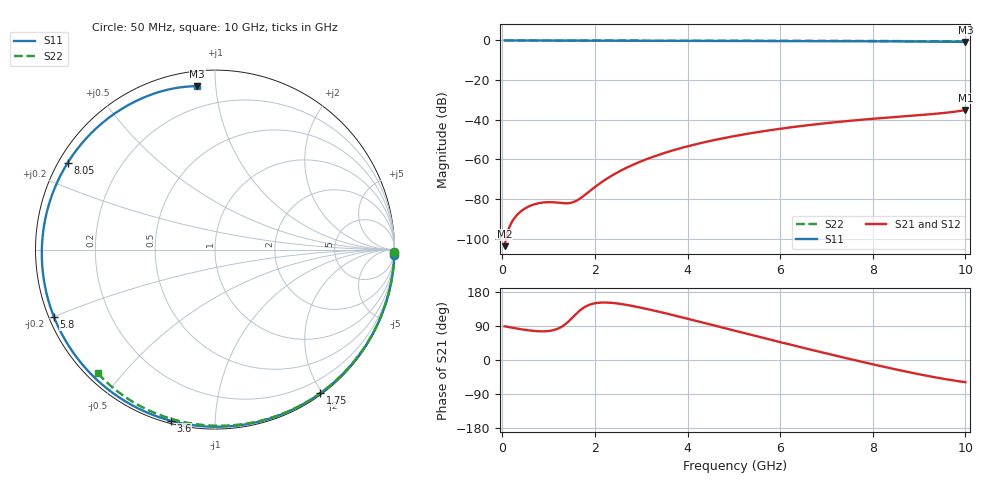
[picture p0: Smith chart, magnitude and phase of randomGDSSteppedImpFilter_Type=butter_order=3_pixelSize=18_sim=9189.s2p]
! freq	dB(S11)	phase(S11)	dB(S12)	phase(S12)
!  dB(S21)	phase(S21)	dB(S22)	phase(S22)
!S-par simulation data
#  GHz  S  DB  R 50
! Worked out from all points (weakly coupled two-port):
!   200 points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, 50 MHz to 10 GHz, reference 50 ohm
!   highest |S21| = -35.12 dB at 10 GHz (marker M1); lowest = -103.8 dB at 50 MHz (marker M2)
!   lowest |S11| = -0.8 dB at 10 GHz (marker M3), VSWR 22.75, Z = 3.96 + j44.7 ohm
!   |S11| at or under -10 dB: nowhere
!   |S22| runs from -0.4 to 0.0 dB; largest |S21 - S12| = 0
!   S11 on the Smith chart (normalised r, x): 50 MHz: 0, -72; 1.75 GHz: 0.02, -1.97; 3.6 GHz: 0.01, -0.77; 5.8 GHz: 0.01, -0.20; 8.05 GHz: 0.03, +0.27; 10 GHz: 0.08, +0.89
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0.05  -0.00 -1.6  -103.78 88.9  -103.78 88.9  -0.00 -0.8
0.45  -0.02 -14.2  -85.38 80.3  -85.38 80.3  -0.01 -6.9
0.85  -0.03 -26.6  -81.84 75.6  -81.84 75.6  -0.02 -13.0
1.25  -0.05 -38.9  -81.94 85.5  -81.94 85.5  -0.02 -19.1
1.65  -0.06 -50.9  -80.19 128.1  -80.19 128.1  -0.03 -25.1
1.75  -0.07 -53.8  -78.54 137.6  -78.54 137.6  -0.03 -26.6
2.15  -0.08 -65.4  -71.40 151.6  -71.40 151.6  -0.04 -32.5
2.5  -0.09 -75.2  -66.41 148.9  -66.41 148.9  -0.05 -37.7
2.9  -0.11 -86.1  -61.93 140.4  -61.93 140.4  -0.06 -43.5
3.4  -0.12 -99.3  -57.54 126.9  -57.54 126.9  -0.07 -50.6
3.6  -0.13 -104.4  -56.05 121.0  -56.05 121.0  -0.07 -53.4
4.3  -0.16 -121.9  -51.69 99.7  -51.69 99.7  -0.09 -63.2
5.05  -0.20 -139.8  -48.08 76.4  -48.08 76.4  -0.11 -73.3
5.8  -0.24 -157.3  -45.22 53.3  -45.22 53.3  -0.14 -83.1
6.25  -0.27 -167.7  -43.78 39.6  -43.78 39.6  -0.16 -88.8
6.7  -0.31 -178.2  -42.49 26.1  -42.49 26.1  -0.18 -94.4
7.4  -0.36 165.3  -40.77 5.6  -40.77 5.6  -0.22 -103.0
8.05  -0.42 149.4  -39.42 -12.7  -39.42 -12.7  -0.27 -110.8
8.35  -0.45 141.9  -38.86 -20.9  -38.86 -20.9  -0.29 -114.4
9.25  -0.56 118.1  -37.21 -43.5  -37.21 -43.5  -0.37 -124.9
9.65  -0.64 106.7  -36.29 -52.2  -36.29 -52.2  -0.41 -129.5
10  -0.76 96.3  -35.12 -58.5  -35.12 -58.5  -0.45 -133.6
